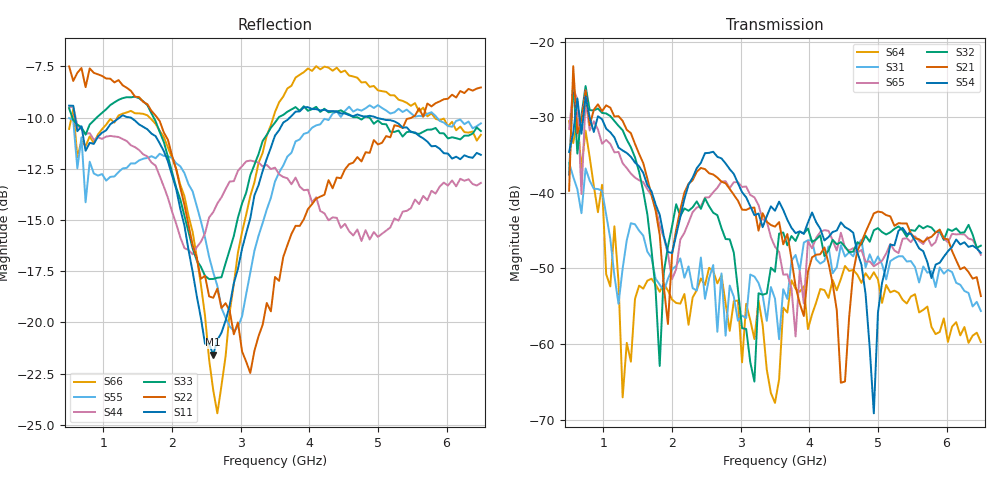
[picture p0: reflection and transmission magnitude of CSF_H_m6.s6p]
!Keysight Technologies,M9804A,MY58100912,A.14.10.03
!Date: Thursday, April 27, 2023 10:28:33
!Correction: S11(C  6-Port  )
!S12(C  6-Port  )
!S13(C  6-Port  )
!S14(C  6-Port  )
!S15(C  6-Port  )
!S16(C  6-Port  )
!S21(C  6-Port  )
!S22(C  6-Port  )
!S23(C  6-Port  )
!S24(C  6-Port  )
!S25(C  6-Port  )
!S26(C  6-Port  )
!S31(C  6-Port  )
!S32(C  6-Port  )
!S33(C  6-Port  )
!S34(C  6-Port  )
!S35(C  6-Port  )
!S36(C  6-Port  )
!S41(C  6-Port  )
!S42(C  6-Port  )
!S43(C  6-Port  )
!S44(C  6-Port  )
!S45(C  6-Port  )
!S46(C  6-Port  )
!S51(C  6-Port  )
!S52(C  6-Port  )
!S53(C  6-Port  )
!S54(C  6-Port  )
!S55(C  6-Port  )
!S56(C  6-Port  )
!S61(C  6-Port  )
!S62(C  6-Port  )
!S63(C  6-Port  )
!S64(C  6-Port  )
!S65(C  6-Port  )
!S66(C  6-Port  )
!S6P File: Measurement: :
# Hz S  RI  R 50
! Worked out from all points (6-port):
!   101 points, 500 MHz to 6.5 GHz, reference 50 ohm
!   strongest paths, dB at 500 MHz, 2 GHz, 3.5 GHz, 5 GHz, 6.5 GHz:
!     S54: -34.6, -48.0, -42.4, -55.9, -47.9
!     S21: -39.7, -48.2, -44.5, -42.5, -53.7
!     S32: -37.6, -44.4, -50.4, -44.7, -47.0
!     S65: -31.6, -51.4, -47.1, -49.4, -48.2
!     S31: -36.0, -50.1, -54.0, -48.4, -55.6
!     S64: -30.5, -54.1, -67.8, -51.5, -59.7
!   lowest |S11| = -21.6 dB at 2.6 GHz (marker M1), VSWR 1.18, Z = 42.6 + j2.05 ohm
!   |S11| at or under -10 dB: 587.9 MHz to 1.234 GHz (646.5 MHz wide, 71 % of centre); 1.398 GHz to 3.716 GHz (2.318 GHz wide, 90.6 % of centre); 4.975 GHz to end of sweep
